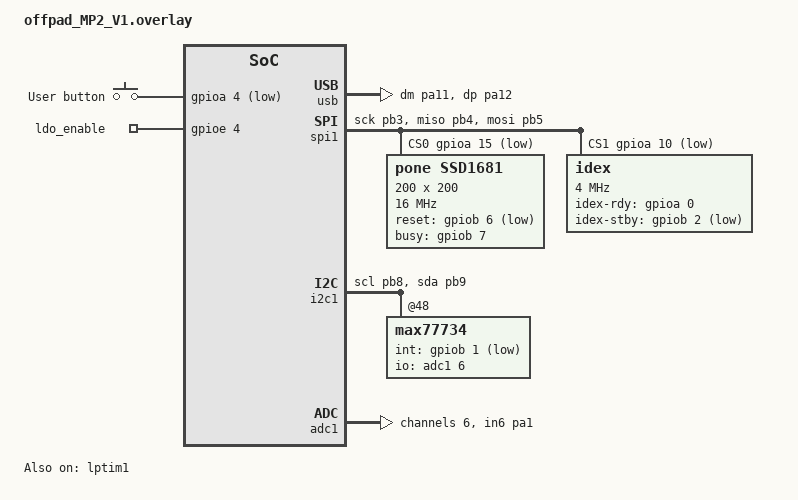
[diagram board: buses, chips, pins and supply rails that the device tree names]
#include <zephyr/dt-bindings/adc/adc.h>

/ {
	chosen {
		zephyr,display = &ssd1681;
	};

	gpio_keys {
		compatible = "gpio-keys";

		button_0: button_0 {
			label = "User button";
			gpios = <&gpioa 4 (GPIO_ACTIVE_LOW)>;
		};
	};

	leds {
		compatible = "gpio-leds";

		ldo_enable: ldo_enable {
			gpios = <&gpioe 4 GPIO_ACTIVE_HIGH>;
		};
	};
};

&clk_lse {
	status = "okay";
};

&clk_hsi48 {
	status = "okay";
};

&lptim1 {
	status = "okay";
};

zephyr_udc0: &usb {
	status = "okay";
	pinctrl-0 = <&usb_dm_pa11 &usb_dp_pa12>;
	pinctrl-names = "default";
};

&spi1 {
	pinctrl-0 = <&spi1_sck_pb3 &spi1_miso_pb4 &spi1_mosi_pb5>;
	pinctrl-names = "default";
	status = "okay";
	cs-gpios = <&gpioa 15 (GPIO_ACTIVE_LOW)>, <&gpioa 10 (GPIO_ACTIVE_LOW | GPIO_PULL_UP)>;

	ssd1681: ssd1681@0 {
		status = "okay";
		compatible = "pone,ssd1681";
		spi-max-frequency = <16000000>;
		orientation-flipped;
		read-support = <0>;
		reg = <0>;
		width = <200>;
		height = <200>;
		tssv = <0x80>;
		pp-width-bits = <8>;
		pp-height-bits = <16>;
		reset-gpios = <&gpiob 6 (GPIO_ACTIVE_LOW)>;
		busy-gpios = <&gpiob 7 (GPIO_ACTIVE_HIGH)>;
		border-waveform = <0x05>;
	};

	idex: idex@1 {
		compatible = "idex";
		spi-max-frequency = <4000000>;
		reg = <1>;
		idex-rdy-gpios = <&gpioa 0 GPIO_ACTIVE_HIGH>;
		idex-stby-gpios = <&gpiob 2 GPIO_ACTIVE_LOW>;
	};
};

&i2c1 {
	pinctrl-0 = <&i2c1_scl_pb8 &i2c1_sda_pb9>;

	max77734: max77734@48 {
		io-channels = <&adc1 6>;
		io-channel-names = "AMUX";
		int-gpios = <&gpiob 1 GPIO_ACTIVE_LOW>;
	};
};

&adc1 {
	pinctrl-0 = <&adc1_in6_pa1>;
	pinctrl-names = "default";
	status = "okay";

	st,adc-clock-source = <1>;
	st,adc-prescaler = <1>;

	#address-cells = <1>;
	#size-cells = <0>;

	channel@6 {
		reg = <6>;
		zephyr,gain = "ADC_GAIN_1";
		zephyr,reference = "ADC_REF_INTERNAL";
		zephyr,acquisition-time = <ADC_ACQ_TIME_DEFAULT>;
		zephyr,resolution = <12>;
		zephyr,oversampling = <4>;
	};
};
